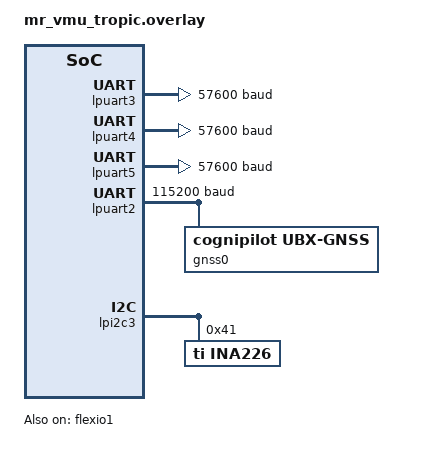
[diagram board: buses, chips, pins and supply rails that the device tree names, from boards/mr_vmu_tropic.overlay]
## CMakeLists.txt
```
cmake_minimum_required(VERSION 3.20.0)

# clangd, Neovim, and VS Code consume Zephyr's exact generated include paths
# and compile definitions from this database.
set(CMAKE_EXPORT_COMPILE_COMMANDS ON)

list(APPEND DTS_ROOT ${CMAKE_CURRENT_SOURCE_DIR})

set(RDD2_WORKSPACE_ROOT "" CACHE PATH "West workspace root containing Zephyr and module checkouts")
if(NOT RDD2_WORKSPACE_ROOT AND DEFINED ENV{RDD2_WORKSPACE_ROOT})
  set(RDD2_WORKSPACE_ROOT "$ENV{RDD2_WORKSPACE_ROOT}")
endif()

if(RDD2_WORKSPACE_ROOT)
  get_filename_component(WORKSPACE_ROOT ${RDD2_WORKSPACE_ROOT} ABSOLUTE)
else()
  get_filename_component(WORKSPACE_ROOT ${CMAKE_CURRENT_SOURCE_DIR} DIRECTORY)
endif()

function(rdd2_cache_path variable fallback description)
  if(DEFINED ENV{${variable}})
    set(${variable} "$ENV{${variable}}" CACHE PATH "${description}" FORCE)
  else()
    set(${variable} "${fallback}" CACHE PATH "${description}")
  endif()
endfunction()

rdd2_cache_path(RDD2_CEREBRI_MODULES_ROOT
  "${WORKSPACE_ROOT}/modules/lib/cerebri_lockstep"
  "Cerebri Zephyr module source"
)
rdd2_cache_path(RDD2_ZROS_ROOT
  "${WORKSPACE_ROOT}/modules/lib/zros"
  "ZROS Zephyr module source"
)
# scripts/synapse_fbs_package writes the package here when it is run from the
# workspace root with its default output directory.
set(_synapse_fbs_default "${WORKSPACE_ROOT}/synapse_fbs-build/synapse_fbs-c")
if(NOT IS_DIRECTORY "${_synapse_fbs_default}")
  set(_synapse_fbs_default "")
endif()
rdd2_cache_path(RDD2_SYNAPSE_FBS_ROOT
  "${_synapse_fbs_default}"
  "Generated Synapse C package source"
)
rdd2_cache_path(RDD2_MODELICA_MODELS_ROOT
  "${WORKSPACE_ROOT}/models/modelica_models"
  "Shared CogniPilot Modelica model library"
)
rdd2_cache_path(RDD2_PREBUILT_EFMI_DIR
  ""
  "Optional root containing prebuilt eFMI control model directories"
)
if(DEFINED ENV{RDD2_PREBUILT_EFMI_MANIFEST_SHA256})
  set(RDD2_PREBUILT_EFMI_MANIFEST_SHA256
    "$ENV{RDD2_PREBUILT_EFMI_MANIFEST_SHA256}" CACHE STRING
    "Expected SHA-256 of the prebuilt eFMI manifest" FORCE
  )
else()
  set(RDD2_PREBUILT_EFMI_MANIFEST_SHA256 "" CACHE STRING
    "Expected SHA-256 of the prebuilt eFMI manifest"
  )
endif()

if(RDD2_PREBUILT_EFMI_DIR)
  get_filename_component(RDD2_PREBUILT_EFMI_DIR
    "${RDD2_PREBUILT_EFMI_DIR}" REALPATH
  )
  if(NOT IS_DIRECTORY "${RDD2_PREBUILT_EFMI_DIR}")
    message(FATAL_ERROR
      "RDD2_PREBUILT_EFMI_DIR is not a directory: ${RDD2_PREBUILT_EFMI_DIR}"
    )
  endif()
endif()

set(ZEPHYR_EXTRA_MODULES
  ${RDD2_CEREBRI_MODULES_ROOT}
  ${RDD2_ZROS_ROOT}
)

if(NOT RDD2_SYNAPSE_FBS_ROOT)
  message(FATAL_ERROR
    "RDD2_SYNAPSE_FBS_ROOT must identify the generated Synapse C package. "
    "Run scripts/synapse_fbs_package from the workspace root so that "
    "${WORKSPACE_ROOT}/synapse_fbs-build/synapse_fbs-c resolves as the default, "
    "or export the RDD2_SYNAPSE_FBS_ROOT value the script prints."
  )
endif()
list(APPEND ZEPHYR_EXTRA_MODULES ${RDD2_SYNAPSE_FBS_ROOT})

# Zephyr main resolves snippets only from SNIPPET_ROOT and no longer implies
# the application directory, so this repo's own snippets/ has to be named for
# `-S mocap-gnss` to resolve.
list(APPEND SNIPPET_ROOT ${CMAKE_CURRENT_SOURCE_DIR})

find_package(Zephyr REQUIRED HINTS $ENV{ZEPHYR_BASE})
project(rdd2 LANGUAGES C)

if(TARGET native_simulator)
  target_sources(native_simulator INTERFACE subsys/lockstep/lockstep_host.c)
endif()

if(TARGET ..__modules__lib__zenoh-pico__zephyr)
  target_compile_options(..__modules__lib__zenoh-pico__zephyr PRIVATE
    -Wno-unused-function
    -Wno-unused-variable
  )
endif()

target_include_directories(app PRIVATE
  include
  ${CMAKE_CURRENT_BINARY_DIR}/generated
  ${ZEPHYR_BASE}/../modules/hal/nxp/mcux/mcux-sdk-ng/drivers/flexio
)

target_link_libraries(app PRIVATE
  synapse_fbs::c
  synapse_fbs::print
)

add_subdirectory(src)
add_subdirectory(subsys)
add_subdirectory(drivers)
```

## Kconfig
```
# Session files reach the rotation size, 4095 MiB by default and far past the
# mcumgr FS group's 64KB default cap.
# When the SD flight logger is built, force the transfer-size choice to its 4GB
# member so a full session is downloadable, which also widens
# MCUMGR_GRP_FS_MAX_OFFSET_LEN. This override precedes Kconfig.zephyr so its
# choice default is evaluated before the upstream 64KB default and therefore
# wins. It stays inert for the passive image, where the FS group is absent.
choice MCUMGR_GRP_FS_MAX_FILE_SIZE
	default MCUMGR_GRP_FS_MAX_FILE_SIZE_4GB if RDD2_FLIGHT_LOG
endchoice

source "Kconfig.zephyr"

config TOP_SHELL
    bool "Enable top-like screen in shell"
    depends on SHELL
    default y

config PWM_FREQUENCY
    int "PWM motors frequency in Hz"
    depends on PWM
    default 400
    
menu "RDD2"

config RDD2_COMMS_STUB
	bool "Build the passive communications endpoint"
	default n
	help
	  Build only ZROS storage, network receivers, timing, diagnostics, and
	  shell access. Flight-control containers, local sensor polling, RC input,
	  motor output, and periodic stub publications are not compiled. The main
	  thread sleeps forever while the event-driven communications endpoints
	  receive data.

choice RDD2_CONTROL_BACKEND
	prompt "Flight control backend"
	depends on !RDD2_COMMS_STUB
	default RDD2_CONTROL_EFMI
	help
	  Select the compute cores behind the estimator, guidance, allocator, and
	  planner processes. The ZROS topic surface, arming state machine, safety
	  gates, and driver bindings are identical for both selections.

config RDD2_CONTROL_EFMI
	bool "Generated eFMI control models"
	help
	  Use the eFMI control models generated from the shared Modelica library.
	  This is the default flight configuration and requires the
	  modelica_models west project to be checked out.

config RDD2_CONTROL_SIMPLE
	bool "Hand-written stand-in control backend"
	depends on !RDD2_LOCKSTEP
	help
	  Use hand-written stand-in compute cores in place of the generated eFMI
	  models. The estimator runs a complementary attitude filter with GNSS and
	  optical-flow passthrough, guidance runs an attitude-P loop, and the
	  allocator runs a rate-P loop with fixed X-quad mixing. Gains are
	  deliberately conservative bench placeholders. This lets the complete
	  flight image link without the generated models for bench verification of
	  sign conventions and data flow. Hardware builds only: this backend omits
	  the lockstep health-time remap the generated estimator performs, so it is
	  unavailable when RDD2_LOCKSTEP is set.

endchoice

config RDD2_MAGNETOMETER
	bool "Feed the onboard magnetometer to the navigation estimator"
	depends on !RDD2_COMMS_STUB && !RDD2_LOCKSTEP && SENSOR
	default y if BMM350 || IST8310
	help
	  Sample the onboard magnetometer at a fixed rate, publish it as the
	  magnetic_field topic in body FLU tesla, log it, and offer it to the
	  navigation estimator, which takes its initial heading from it and fuses
	  it as a yaw observation. Without it the estimator has no heading source
	  indoors and its yaw is arbitrary. The lockstep image has no I2C device
	  behind the driver, so it stays off there.

if RDD2_MAGNETOMETER

choice RDD2_MAGNETOMETER_DEVICE
	prompt "Magnetometer device"
	default RDD2_MAGNETOMETER_BMM350 if BMM350
	default RDD2_MAGNETOMETER_IST8310

config RDD2_MAGNETOMETER_BMM350
	bool "BMM350 (LPI2C4)"
	depends on BMM350

config RDD2_MAGNETOMETER_IST8310
	bool "IST8310 (LPI2C1)"
	depends on IST8310

endchoice

config RDD2_MAGNETOMETER_RATE_HZ
	int "Sample rate in Hz"
	default 50
	range 5 200

config RDD2_MAGNETOMETER_STDDEV_NT
	int "Per-axis measurement noise standard deviation in nT"
	default 300
	help
	  Reported to the estimator as an isotropic measurement covariance. Set
	  it from the field scatter measured on the resting aircraft with motors
	  off; the estimator's innovation gate handles the rest.

choice RDD2_MAGNETOMETER_MOUNT_YAW
	prompt "Rotation from the sensor axes to the body FLU frame about z"
	default RDD2_MAGNETOMETER_MOUNT_YAW_90
	help
	  The 90 degree default is the mapping the IMU interface applies to the
	  ICM45686 on this board (body x is sensor y, body y is -sensor x).
	  Verify it on the bench with the aircraft pointed at a known heading
	  before trusting the magnetic heading.

config RDD2_MAGNETOMETER_MOUNT_YAW_0
	bool "0 degrees"

config RDD2_MAGNETOMETER_MOUNT_YAW_90
	bool "90 degrees"

config RDD2_MAGNETOMETER_MOUNT_YAW_180
	bool "180 degrees"

config RDD2_MAGNETOMETER_MOUNT_YAW_270
	bool "270 degrees"

endchoice

config RDD2_MAGNETOMETER_Z_INVERTED
	bool "Sensor z axis points down"
	default n

endif # RDD2_MAGNETOMETER

rsource "subsys/Kconfig"
rsource "drivers/Kconfig"

endmenu
```

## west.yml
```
# SPDX-License-Identifier: Apache-2.0

manifest:
  self:
    path: cerebri_rdd2

  remotes:
    - name: zephyrproject-rtos
      url-base: https://github.com/zephyrproject-rtos
    - name: cognipilot
      url-base: https://github.com/CogniPilot

  projects:
    - name: zephyr
      remote: cognipilot
      revision: e665e099a421a94431052312ab3b53904886a761 # crsf-rx-idle-flush: crsf hardening plus RX flush from the idle line
      path: zephyr
      west-commands: scripts/west-commands.yml
    - name: cmsis
      remote: zephyrproject-rtos
      revision: 512cc7e895e8491696b61f7ba8066b4a182569b8
      path: modules/hal/cmsis
    - name: cmsis-dsp
      remote: zephyrproject-rtos
      revision: 97512610ec92058f0119450b9e743eeb7e95b5c8
      path: modules/lib/cmsis-dsp
    - name: cmsis_6
      remote: zephyrproject-rtos
      revision: b2dfbe1a20bbd49c2d2c605073799671074bbb30
      path: modules/hal/cmsis_6
    - name: fatfs
      remote: zephyrproject-rtos
      revision: f4ead3bf4a6dab3a07d7b5f5315795c073db568d
      path: modules/fs/fatfs
    - name: hal_nxp
      remote: zephyrproject-rtos
      revision: 53946adb08b54449391c1c0c73cdd094d92a3b6e
      path: modules/hal/nxp
    - name: hal_tdk
      remote: zephyrproject-rtos
      revision: 0f209bd0a4b6511c8c6ffddda75da1fe6988df8f
      path: modules/hal/tdk
    - name: segger
      remote: zephyrproject-rtos
      revision: 50892fdbcf2f570e67baa72b8894a66b16946f72
      path: modules/debug/segger
    - name: zcbor
      remote: zephyrproject-rtos
      revision: 9164bd18dcd88ff9d9ef98279501fc1093571017
      path: modules/lib/zcbor
    - name: zros
      remote: cognipilot
      revision: da99292affe1908ffc38d85ef20c0a89a4300dd1 # clock-only-when-rate-limited: subscriptions read the kernel clock only for rate limiting
      path: modules/lib/zros
    - name: cerebri_modules
      remote: cognipilot
      revision: ef73a4f8adeb4385c34af4344c9af27e43e02033
      path: modules/lib/cerebri_lockstep
    - name: modelica_models
      remote: cognipilot
      revision: 5b6b849ae35927f1713317f6809889d356ed263c # quiet-filter: low-pass quasi-static test, rumoca 0.10.0
      path: models/modelica_models
    - name: fastdyn
      url: https://github.com/jgoppert/FastDyn.git
      revision: cc40605fc29b62d701adee3895c659f9ce458a4b # io-log-opt-in: access log only for twintrace, probe, or FASTDYN_IO_LOG; no per-access timestamp when off
      path: modules/sim/fastdyn
    - name: zenoh-pico
      url: https://github.com/cognipilot/zenoh-pico.git
      revision: 2019ae3394b79955705f9a78c9f32d76b3b845ce
      path: modules/lib/zenoh-pico
    - name: zephyr_boards
      remote: cognipilot
      revision: 1d7c17e875938082f024e80d114ac82c25aa53a9
      path: modules/lib/zephyr_boards
    - name: mcuboot
      remote: zephyrproject-rtos
      revision: c38f7a10c14ae8b95c0296cd10320907c28e02c7 # matches the fleet zephyr import
      path: bootloader/mcuboot
```

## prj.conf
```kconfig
CONFIG_MAIN_STACK_SIZE=6144
CONFIG_MAIN_THREAD_PRIORITY=2
CONFIG_SYSTEM_WORKQUEUE_STACK_SIZE=2048
CONFIG_THREAD_NAME=y
CONFIG_THREAD_MONITOR=y
CONFIG_THREAD_STACK_INFO=y
CONFIG_INIT_STACKS=y
CONFIG_THREAD_RUNTIME_STATS=y

CONFIG_FPU=y
CONFIG_POLL=y
CONFIG_HEAP_MEM_POOL_SIZE=32768
CONFIG_ZROS=y
CONFIG_ZROS_SHELL=y

CONFIG_LOG=y
# Deferred logging: a LOG call only packs a record into the ring below and
# returns, so no flight thread or ISR ever blocks on the console. A log storm
# can no longer stall the rate loop, the network stack, or the SD writer.
CONFIG_LOG_MODE_DEFERRED=y
# ~4 KiB holds roughly 80-130 packed records, enough to absorb normal multi-line
# bursts (arming, mode changes, GNSS events) without dropping. When a true storm
# outruns the 115200 console the overflow policy below drops the oldest record
# rather than blocking the producer.
CONFIG_LOG_BUFFER_SIZE=4096
CONFIG_LOG_MODE_OVERFLOW=y
# The log processing thread and the shell thread that drains records to the UART
# must both sit below every flight thread (rate 2, navigation 3, capture 4,
# planning 5, guidance 6, wire/gnss/serial 7) and below the SD writer (10), so
# console work can never preempt control or storage. 14 is the lowest
# application priority (K_LOWEST_APPLICATION_THREAD_PRIO with the default
# CONFIG_NUM_PREEMPT_PRIORITIES=15). Without CUSTOM_PRIORITY the log thread would
# still default to that lowest priority, but the shell thread defaults to 0
# (above the rate loop) and is the thread that actually writes the UART in
# deferred mode, so it must be pinned down explicitly.
CONFIG_LOG_PROCESS_THREAD=y
CONFIG_LOG_PROCESS_THREAD_CUSTOM_PRIORITY=y
CONFIG_LOG_PROCESS_THREAD_PRIORITY=14
CONFIG_SHELL_THREAD_PRIORITY_OVERRIDE=y
CONFIG_SHELL_THREAD_PRIORITY=14
CONFIG_LOG_DEFAULT_LEVEL=2
CONFIG_LOG_CMDS=y
CONFIG_LOG_BACKEND_UART=n
CONFIG_LOG_PRINTK=n

CONFIG_CONSOLE=y
CONFIG_SERIAL=y
CONFIG_UART_ASYNC_API=y
CONFIG_UART_INTERRUPT_DRIVEN=y

CONFIG_SHELL=y
CONFIG_SHELL_BACKEND_SERIAL=y
CONFIG_SHELL_LOG_BACKEND=y
CONFIG_SHELL_PROMPT_UART="rdd2:~$ "
CONFIG_SHELL_STACK_SIZE=6144
CONFIG_DEVICE_SHELL=y
CONFIG_KERNEL_SHELL=y

# The flight logger never formats a card: it refuses to log on an unformatted
# volume rather than destroy its contents. Drop the format-on-mount-failure
# path entirely so the behavior cannot regress. Inactive unless the FAT
# filesystem is compiled in, so this is a no-op for the passive image.
CONFIG_FS_FATFS_MOUNT_MKFS=n
```

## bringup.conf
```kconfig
# Bench bring-up: use immediate logs and turn up the net/gPTP/PHY log levels
# so ENET, gPTP, and direct-wire bring-up is fully visible.
CONFIG_LOG_MODE_IMMEDIATE=y
CONFIG_RESET_ON_FATAL_ERROR=n
CONFIG_NET_L2_ETHERNET_LOG_LEVEL_DBG=y
CONFIG_PHY_LOG_LEVEL_DBG=y
CONFIG_NET_CONFIG_LOG_LEVEL_DBG=y
CONFIG_NET_CORE_LOG_LEVEL_DBG=y
CONFIG_NET_GPTP_LOG_LEVEL_DBG=y
```

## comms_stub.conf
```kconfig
# Non-flyable communications/timing bench image.
CONFIG_RDD2_COMMS_STUB=y
# The system GNSS fix arrives through the direct Synapse wire receiver.
CONFIG_RDD2_GNSS_SOURCE_WIRE=y
# The passive endpoint has no periodic serial bridge thread.
CONFIG_RDD2_ZROS_SERIAL=n
CONFIG_RDD2_DSHOT=n
CONFIG_RDD2_LOCKSTEP=n
CONFIG_RDD2_FASTDYN=n
# The passive timing endpoint carries no SD stack: the flight logger and the
# usdhc/FAT block layer it selects stay out of the image so it remains lean.
CONFIG_RDD2_FLIGHT_LOG=n
```

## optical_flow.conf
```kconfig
# SPDX-License-Identifier: Apache-2.0

# Opt-in flight profile: retain onboard GPS and fuse a gPTP-synchronized,
# range/tilt-compensated planar velocity from the shaped sensor node.
CONFIG_RDD2_OPTICAL_FLOW_SOURCE_CSYN=y
```

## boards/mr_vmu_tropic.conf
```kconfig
CONFIG_INPUT=y
CONFIG_INPUT_MODE_SYNCHRONOUS=y
CONFIG_INPUT_SHELL=y
CONFIG_INPUT_EVENT_DUMP=y
CONFIG_INPUT_CRSF=y
CONFIG_INPUT_CRSF_SEND_SYNC=y
CONFIG_INPUT_CRSF_REPORT_FILTER=1
CONFIG_INPUT_CRSF_THREAD_PRIORITY=1
CONFIG_INPUT_CRSF_THREAD_STACK_SIZE=2048
CONFIG_INPUT_CRSF_USE_DTCM_FOR_DMA_BUFFER=y
CONFIG_CODE_DATA_RELOCATION=y
CONFIG_POSIX_API=y
CONFIG_MAX_PTHREAD_MUTEX_COUNT=16
CONFIG_MAX_PTHREAD_COND_COUNT=8

CONFIG_DSP=y
CONFIG_DSP_BACKEND_CMSIS=y
CONFIG_CMSIS_DSP=y

CONFIG_SENSOR=y
CONFIG_SENSOR_ASYNC_API=y
CONFIG_SENSOR_SHELL=y
# `i2c scan` for locating the power monitor and other bus devices.
CONFIG_I2C_SHELL=y
# Battery voltage and current from the power module's INA226 into vehicle_health.
CONFIG_INA226=y
CONFIG_RDD2_POWER_SOURCE=y
# ICM45686 data-ready streaming for local inertial sensing. The early-boot
# fault (data-ready IRQ arriving before the RTIO stream is armed) and the
# uninitialised INT-config at driver init are both fixed in the fork driver.
CONFIG_ICM45686_STREAM=y
CONFIG_PINCTRL=y
CONFIG_CLOCK_CONTROL=y
CONFIG_DMA=y
CONFIG_MDIO=y
CONFIG_MDIO_SHELL=y
CONFIG_NETWORKING=y
# IPv6-native, no IPv4. Each node self-assigns a stable EUI-64 interface identifier
# from its UUID-seeded MAC (nxp,unique-mac): zero-config, unique, reboot-stable
# addressing with no DHCP, off the same UUID that pins the gPTP clockIdentity. No
# IPv4 stack is built. NET_CONFIG_NEED_IPV4 does `select NET_IPV4`, so it is off too.
CONFIG_NET_IPV4=n
CONFIG_NET_IPV6=y
CONFIG_NET_IPV6_IID_EUI_64=y
CONFIG_NET_UDP=y
CONFIG_NET_CONFIG_SETTINGS=y
CONFIG_NET_CONFIG_NEED_IPV4=n
CONFIG_NET_CONFIG_INIT_TIMEOUT=0
CONFIG_NET_SHELL=y
CONFIG_NET_STATISTICS=y
CONFIG_NET_STATISTICS_PER_INTERFACE=y
CONFIG_NET_STATISTICS_USER_API=y
CONFIG_NET_STATISTICS_ICMP=y
CONFIG_NET_STATISTICS_UDP=y
CONFIG_NET_STATISTICS_ETHERNET=y
CONFIG_SPI_NXP_LPSPI_DMA=n
CONFIG_GNSS=y

# The system GNSS fix is received directly from the network GNSS source.
# The direct-wire receiver is the sole publisher of gnss_fix on this node.
CONFIG_RDD2_GNSS_SOURCE_WIRE=y

# Optical flow arrives on the same direct Synapse wire. The node's derived
# velocity is biased and rotation-contaminated (flight0114 replay: fusing it
# raised position error 7x), so it is not fused. The estimator instead fuses
# the node's raw OpticalFlowData, forming the velocity itself.
CONFIG_RDD2_OPTICAL_FLOW_SOURCE_WIRE=n
CONFIG_RDD2_OPTICAL_FLOW_SOURCE_WIRE_RAW=y

# Record the flight bus to the microSD card. The logger's ring lives in DTCM.
CONFIG_RDD2_FLIGHT_LOG=y
# Card preparation and session events are operator-facing, so they go to the console.
CONFIG_RDD2_FLIGHT_LOG_LOG_LEVEL_INF=y

# Synapse topics over the SiK telemetry radio on the zros-serial alias.
CONFIG_RDD2_ZROS_SERIAL=y

# Network node on the T1ETH8: gPTP receiver plus direct sensor datagrams.
CONFIG_NET_TCP=y
CONFIG_NET_SOCKETS=y
CONFIG_NET_VLAN=y
CONFIG_NET_VLAN_COUNT=1
CONFIG_NET_IF_MAX_IPV6_COUNT=2
CONFIG_NET_CONTEXT_RECV_PKTINFO=y
CONFIG_NET_CONTEXT_RECV_HOPLIMIT=y
CONFIG_NET_HOSTNAME_ENABLE=y
CONFIG_NET_HOSTNAME="cerebri-vmu"

# gPTP (IEEE 802.1AS) static timeReceiver: the port is pinned to the receiver role
# and the classic-ENET PTP hardware clock is disciplined from received Sync/Follow_Up
# alone, so the VMU locks to the GNSS grandmaster through the Announce-less AVnu
# bridge. PTP_CLOCK is listed explicitly to keep the PHC in the build.
CONFIG_NET_GPTP=y
CONFIG_PTP_CLOCK=y
CONFIG_NET_GPTP_STATIC_TIME_RECEIVER=y
# Bound the phase step that is applied as an instantaneous clock jump rather
# than being slewed. The TROPIC is a pure time receiver and owns no timescale
# that any other node consumes, so a tight 2 ms threshold keeps its local clock
# close to the grandmaster without disturbing downstream consumers.
CONFIG_NET_GPTP_CLOCK_STEP_THRESHOLD_NS=2000000

CONFIG_RDD2_SYNAPSE_WIRE=y
CONFIG_RDD2_SYNAPSE_WIRE_LOCAL_ADDRESS="fe80::4:9fff:fe00:150"
CONFIG_RDD2_SYNAPSE_WIRE_VLAN_ID=58
# Sensor peers are addressed by role, not by silicon. Each node uses the
# locally administered MAC 02:04:9f:00:hh:ll whose final 12 bits read as the
# decimal node id followed by zero in hex, giving link-local
# fe80::4:9fff:fe00:{node}0. Node 12 (optical flow) and node 11 (GNSS) resolve
# to the constants below, so this firmware is identical across every hardware
# set instead of tracking per-board silicon-derived addresses.
CONFIG_RDD2_SYNAPSE_WIRE_OPTICAL_SOURCE_ADDRESS="fe80::4:9fff:fe00:120"
CONFIG_RDD2_SYNAPSE_WIRE_OPTICAL_SOURCE_NODE_ID=12
CONFIG_RDD2_SYNAPSE_WIRE_GNSS_SOURCE_ADDRESS="fe80::4:9fff:fe00:110"
CONFIG_RDD2_SYNAPSE_WIRE_GNSS_SOURCE_NODE_ID=11
# Reject synchronized sensor timestamps more than 10 ms in the future. The
# gPTP step threshold above and this skew bound are qualified together in a
# bench soak (lock, holdover, recovery) before any flight, and the deployment
# manifest value must track whatever is actually deployed.
CONFIG_RDD2_SYNAPSE_WIRE_FUTURE_SKEW_MS=10
CONFIG_RDD2_SYNAPSE_WIRE_LOG_LEVEL_INF=y
CONFIG_ZVFS_OPEN_MAX=16
CONFIG_HEAP_MEM_POOL_SIZE=49152

# MCUboot-managed image with mcumgr OTA over UDP (fleet parity): confirm/rollback
# safety plus reflash over the mesh via mcumgr-client, so the tropic no longer
# depends on the J-Link for updates once it is on the network.
CONFIG_BOOTLOADER_MCUBOOT=y
CONFIG_FLASH=y
CONFIG_FLASH_MAP=y
CONFIG_STREAM_FLASH=y
CONFIG_IMG_MANAGER=y
CONFIG_ZCBOR=y
CONFIG_BASE64=y
CONFIG_MCUMGR=y
CONFIG_MCUMGR_TRANSPORT_UDP=y
CONFIG_MCUMGR_TRANSPORT_UDP_IPV6=y
CONFIG_MCUMGR_GRP_OS=y
CONFIG_MCUMGR_GRP_OS_INFO=y
CONFIG_MCUMGR_GRP_IMG=y
CONFIG_MCUMGR_GRP_IMG_SLOT_INFO=y
# Shell over SMP so the node can be inspected over the network (wire and ZROS
# state, net) the same way as the MCXN nodes, without the serial console. The
# shell mgmt group executes through the dummy shell backend, which coexists with
# the interactive lpuart6 console backend.
CONFIG_BASE64=y
CONFIG_SHELL_BACKEND_DUMMY=y
CONFIG_MCUMGR_GRP_SHELL=y

# CRSF telemetry back to the ELRS receiver: plain GPS/battery/flight-mode frames
# plus the Yaapu passthrough frames the Yaapu script on the transmitter reads.
CONFIG_RDD2_CRSF_TELEMETRY=y

# The vector table is copied to ITCM at boot instead of being fetched from
# QSPI flash on every interrupt, so exception entry reads it in a single cycle.
CONFIG_SRAM_VECTOR_TABLE=y
CONFIG_ARM_VECTOR_TABLE_ITCM=y

# Ethernet DMA buffers and descriptors in DTCM: no cache maintenance in
# the Ethernet interrupt handler, which holds the interrupt lock for its
# whole body. The Kconfig default is off on Cortex-M7 for an RT117x
# erratum that this SoC does not carry.
CONFIG_ETH_NXP_ENET_USE_DTCM_FOR_DMA_BUFFER=y
```

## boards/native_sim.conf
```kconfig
CONFIG_NATIVE_SIM_SLOWDOWN_TO_REAL_TIME=y
CONFIG_REQUIRES_FULL_LIBC=y
CONFIG_ENTROPY_GENERATOR=y

CONFIG_INPUT=y
CONFIG_INPUT_MODE_SYNCHRONOUS=y
CONFIG_SENSOR=y

CONFIG_RDD2_LOG_SDCARD=y
CONFIG_DISK_DRIVERS=y
CONFIG_DISK_DRIVER_FLASH=y
CONFIG_FS_FATFS_MOUNT_MKFS=y
CONFIG_FILE_SYSTEM_SHELL=y

CONFIG_UART_NATIVE_PTY=y
CONFIG_UART_NATIVE_PTY_0_ON_OWN_PTY=y
CONFIG_UART_NATIVE_PTY_AUTOATTACH_DEFAULT_CMD="xterm -fa Monospace -fs 14 -e screen %s &"
```

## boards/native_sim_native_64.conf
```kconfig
CONFIG_NATIVE_SIM_SLOWDOWN_TO_REAL_TIME=y
CONFIG_REQUIRES_FULL_LIBC=y
CONFIG_ENTROPY_GENERATOR=y

CONFIG_INPUT=y
CONFIG_INPUT_MODE_SYNCHRONOUS=y
CONFIG_SENSOR=y

CONFIG_UART_NATIVE_PTY=y
CONFIG_UART_NATIVE_PTY_0_ON_OWN_PTY=y
CONFIG_UART_NATIVE_PTY_AUTOATTACH_DEFAULT_CMD="xterm -fa Monospace -fs 14 -e screen %s &"
```

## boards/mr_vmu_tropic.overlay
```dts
/* SPDX-License-Identifier: Apache-2.0 */

#include <zephyr/dt-bindings/sensor/icm45686.h>
#include <zephyr/dt-bindings/sensor/ina226.h>

/ {
	aliases {
		rc = &sbus0;
		imu0 = &icm45686;
		power0 = &ina226;
		motors = &dshot;
		gnss = &gnss0;
		zros-serial = &lpuart4;

		/*
		 * Candidates for `zros_serial scan`, which listens on all of
		 * them at once to find which header the radio is on. Only
		 * UARTs no driver owns may be listed: the scan reconfigures
		 * the baud and polls for bytes, which would fight any driver
		 * holding the port. lpuart6 is the console, lpuart8 is CRSF,
		 * and lpuart2 belongs to the GNSS receiver in the default
		 * build, so the mocap-gnss snippet adds lpuart2 instead.
		 */
		zros-scan0 = &lpuart3;
		zros-scan1 = &lpuart4;
		zros-scan2 = &lpuart5;
	};
};

/*
 * SiK telemetry radio carrying the compact synapse serial framing. All three
 * candidate TELEM ports carry the radio's rate, not just the one the
 * zros-serial alias currently names: `zros_serial scan` configures the baud
 * itself and restores it afterwards, so a port that scans clean at 57600
 * would otherwise still come up at the devicetree default and see nothing.
 * 57600 is the SiK factory default; change all three together if the radios
 * are reconfigured.
 */
&lpuart3 {
	status = "okay";
	current-speed = <57600>;
};

&lpuart4 {
	status = "okay";
	current-speed = <57600>;
};

&lpuart5 {
	status = "okay";
	current-speed = <57600>;
};

/*
 * Onboard M10 on the 10-pin JST-GH GPS connector. Enabling this node is what
 * pulls in the Zephyr GNSS driver and makes RDD2_GNSS_SOURCE_ONBOARD the
 * default, so the gnss topic is produced here and streamed out as telemetry.
 *
 * current-speed is 115200, confirmed against the hardware: a port dump at that
 * rate returns b5 62 01 07, a u-blox UBX NAV-PVT header. Note that the module
 * therefore speaks UBX, not NMEA, so gnss-nmea-generic cannot decode it - see
 * the GNSS section of README.md. The mocap-gnss snippet disables this node,
 * which both frees the UART and switches the topic to accepting an injected
 * fix.
 */
&lpuart2 {
	status = "okay";
	current-speed = <115200>;

	gnss0: gnss {
		status = "okay";
		compatible = "cognipilot,ubx-gnss";
	};
};

/*
 * Battery monitor on the CogniPilot power module, on the I2C bus behind the
 * POWER connector. The shunt value and the current LSB below are the ones the
 * module ships with; both scale the reported current directly, so check the
 * current channel against a meter under load before trusting the telemetry.
 */
&lpi2c3 {
	ina226: ina226@41 {
		compatible = "ti,ina226";
		reg = <0x41>;
		current-lsb-microamps = <5000>;
		rshunt-micro-ohms = <500>;
	};
};

&icm45686 {
	spi-max-frequency = <10000000>;
	/*
	 * Pace the rate loop directly from the IMU data-ready interrupt at
	 * 800 Hz. The low-pass bandwidth is a fraction of the ODR, so the
	 * 1/16 accel (50 Hz) and 1/8 gyro (100 Hz) cutoffs track the new rate
	 * automatically and stay conservative enough to cut motor vibration
	 * without adding extra control-path threading.
	 */
	accel-odr = <ICM45686_DT_ACCEL_ODR_800>;
	accel-lpf = <ICM45686_DT_ACCEL_LPF_BW_1_16>;
	gyro-odr = <ICM45686_DT_GYRO_ODR_800>;
	gyro-lpf = <ICM45686_DT_GYRO_LPF_BW_1_8>;
	fifo-watermark = <0>;
};

&pinctrl {
	pinmux_dshot_vmu: pinmux_dshot_vmu {
		group0 {
			pinmux = <&iomuxc_gpio_emc_06_flexio1_flexio06>,
				 <&iomuxc_gpio_emc_07_flexio1_flexio07>,
				 <&iomuxc_gpio_emc_08_flexio1_flexio08>,
				 <&iomuxc_gpio_emc_09_flexio1_flexio09>,
				 <&iomuxc_gpio_emc_02_flexio1_flexio02>,
				 <&iomuxc_gpio_emc_03_flexio1_flexio03>,
				 <&iomuxc_gpio_emc_04_flexio1_flexio04>,
				 <&iomuxc_gpio_emc_05_flexio1_flexio05>;
			drive-strength = "r0-4";
			bias-pull-up;
			bias-pull-up-value = "47k";
			slew-rate = "fast";
			input-enable;
			nxp,speed = "100-mhz";
		};
	};
};

&flexio1 {
	status = "okay";

	dshot: dshot {
		compatible = "cognipilot,flexio-dshot";
		pinctrl-0 = <&pinmux_dshot_vmu>;
		pinctrl-names = "default";
		status = "okay";
		speed = <600>;

		ch1 {
			pin-id = <6>;
			bidirectional-dshot;
			extended-telemetry;
		};

		ch2 {
			pin-id = <7>;
			bidirectional-dshot;
			extended-telemetry;
		};

		ch3 {
			pin-id = <9>;
			bidirectional-dshot;
			extended-telemetry;
		};

		ch4 {
			pin-id = <8>;
			bidirectional-dshot;
			extended-telemetry;
		};
	};
};

&bmi08x_accel {
	status = "disabled";
};

&bmi08x_gyro {
	status = "disabled";
};

/*
 * FlexRAM split: all sixteen 32 KB banks go to the tightly coupled memories,
 * 256 KB ITCM for the hot-path code including the whole interrupt path, and
 * 256 KB DTCM for the hot-path data. OCRAM2 (512 KB) is the general RAM and
 * holds the generated navigation estimator state and the flight log ring.
 * Each image applies its own split from its reset hook, so MCUboot keeping
 * the board default does not conflict.
 */
#include <zephyr/dt-bindings/memory-controller/nxp,flexram.h>

&flexram {
	flexram,bank-spec = <FLEXRAM_DTCM>,
			    <FLEXRAM_DTCM>,
			    <FLEXRAM_DTCM>,
			    <FLEXRAM_DTCM>,
			    <FLEXRAM_DTCM>,
			    <FLEXRAM_DTCM>,
			    <FLEXRAM_DTCM>,
			    <FLEXRAM_DTCM>,
			    <FLEXRAM_ITCM>,
			    <FLEXRAM_ITCM>,
			    <FLEXRAM_ITCM>,
			    <FLEXRAM_ITCM>,
			    <FLEXRAM_ITCM>,
			    <FLEXRAM_ITCM>,
			    <FLEXRAM_ITCM>,
			    <FLEXRAM_ITCM>;
};

&itcm {
	reg = <0x00000000 DT_SIZE_K(256)>;
};

&dtcm {
	reg = <0x20000000 DT_SIZE_K(256)>;
};
```

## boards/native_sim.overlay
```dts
/* SPDX-License-Identifier: Apache-2.0 */

/delete-node/ &storage_partition;

&flash0 {
	partitions {
		compatible = "fixed-partitions";
		#address-cells = <1>;
		#size-cells = <1>;

		storage_partition: partition@f0000 {
			label = "storage";
			reg = <0x000f0000 DT_SIZE_K(64)>;
		};
	};
};

/ {
	aliases {
		rc = &lockstep_rc0;
		imu0 = &lockstep_imu0;
		motors = &lockstep_dshot0;
	};

	rdd2_log_disk0 {
		compatible = "zephyr,flash-disk";
		partition = <&storage_partition>;
		disk-name = "SD";
		cache-size = <4096>;
		status = "okay";
	};

	lockstep_rc0: lockstep_rc {
		compatible = "cognipilot,lockstep-rc";
		status = "okay";
	};

	lockstep_imu0: lockstep_imu {
		compatible = "cognipilot,lockstep-imu";
		status = "okay";
	};

	lockstep_dshot0: lockstep_dshot {
		compatible = "cognipilot,lockstep-dshot";
		status = "okay";
		channel-count = <4>;
	};
};
```

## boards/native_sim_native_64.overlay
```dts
/* SPDX-License-Identifier: Apache-2.0 */

#include "native_sim.overlay"
```

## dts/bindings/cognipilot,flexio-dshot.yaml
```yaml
# Copyright 2024 NXP
# SPDX-License-Identifier: Apache-2.0

description: NXP Flexio DSHOT controller.
  Each flexio timer can be used for generating one dshot pulse.
  The two DSHOT modes supported by flexio are chosen based on the selected polarity -
  Dual 8-bit counters DSHOT mode and Dual 8-bit counters DSHOT Low mode.

compatible: "cognipilot,flexio-dshot"

include: [pinctrl-device.yaml, base.yaml]

properties:
  pinctrl-0:
    required: true

  pinctrl-names:
    required: true

  speed:
    type: int
    default: 600
    description: |
      bitrate of the dshot signal in kbit/s

child-binding:
  description: |
    Flexio DSHOT channel configuration.

  properties:
    pin-id:
      type: int
      required: true
      description: |
        pin-id should be populated with number 'n' specified in the
        FXIO_D<n> data pin of your board's schematic.
    bidirectional-dshot:
      type: boolean
      description: | 
        Enables inverted dshot, where signal level is inverted
        When inverted an DSHOT esc will send back telemetry over 
        the same single wire
    extended-telemetry:
      type: boolean
      description: |
        Enable Extended DShot Telemetry (EDT) on this channel. Requires
        bidirectional-dshot on the same channel (ignored otherwise). When set,
        once the channel comes online the driver sends the DShot
        extended-telemetry-enable command to the ESC, then decodes the
        temperature/voltage/current EDT frames interleaved with the eRPM
        responses. Exposed through SENSOR_CHAN_DIE_TEMP, SENSOR_CHAN_VOLTAGE and
        SENSOR_CHAN_CURRENT.
```

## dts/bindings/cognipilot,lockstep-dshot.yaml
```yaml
# SPDX-License-Identifier: Apache-2.0

description: RDD2 native_sim DSHOT output device

compatible: "cognipilot,lockstep-dshot"

include: sensor-device.yaml

properties:
  channel-count:
    type: int
    required: true
    description: Number of simulated motor output channels.
```

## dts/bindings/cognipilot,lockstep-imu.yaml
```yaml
# SPDX-License-Identifier: Apache-2.0

description: RDD2 native_sim IMU sensor device

compatible: "cognipilot,lockstep-imu"

include: sensor-device.yaml
```

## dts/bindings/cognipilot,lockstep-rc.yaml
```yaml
# SPDX-License-Identifier: Apache-2.0

description: RDD2 native_sim RC input device

compatible: "cognipilot,lockstep-rc"

include: base.yaml
```

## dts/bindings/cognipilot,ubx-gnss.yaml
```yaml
# Copyright (c) 2026 CogniPilot Foundation
# SPDX-License-Identifier: Apache-2.0

description: |
  u-blox receiver read as UBX binary rather than NMEA.

  At boot the driver sends one RAM-layer UBX-CFG-VALSET transaction on receiver
  UART1 at 115200 baud. It enables UBX input/output, disables NMEA input/output,
  selects airborne-2g dynamics, sets a 100 ms navigation measurement period,
  and enables UBX-NAV-PVT on UART1. Configuration is ACK-gated and fails closed
  after three attempts rejected by NAKs or bounded ACK timeouts.

  NAV-PVT carries everything the synapse GnssFix contract wants, including the
  accuracy estimates NMEA cannot express. The driver publishes a usable fix
  only after configuration and stable, recent 10 Hz samples pass fix and
  accuracy gates; otherwise it publishes NoFix with unusable sentinels.

  Declare it as a child of the UART the receiver is wired to, and set that
  UART's current-speed to 115200.

compatible: "cognipilot,ubx-gnss"

include: uart-device.yaml
```

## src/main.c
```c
/* SPDX-License-Identifier: Apache-2.0 */

#include "interfaces/zros_topics.h"
#include "processes/processes.h"

#include <zephyr/logging/log.h>

LOG_MODULE_REGISTER(rdd2, LOG_LEVEL_INF);

int main(void)
{
	rdd2_topic_shell_formatters_init();

#if defined(CONFIG_RDD2_COMMS_STUB)
	LOG_INF("PASSIVE COMMS ENDPOINT: FLIGHT CONTROL AND OUTPUTS ARE NOT BUILT");
	return rdd2_comms_stub_process_run();
#else
	int rc;

	/* Start consumers before the IMU-paced rate process begins publishing. */
	rc = rdd2_navigation_estimator_process_start();
	if (rc != 0) {
		LOG_ERR("NavigationEstimator process failed to start: %d", rc);
		return rc;
	}

	rc = rdd2_waypoint_trajectory_planner_process_start();
	if (rc != 0) {
		LOG_ERR("WaypointTrajectoryPlanner process failed to start: %d", rc);
		return rc;
	}

	rc = rdd2_guidance_controller_process_start();
	if (rc != 0) {
		LOG_ERR("GuidanceController process failed to start: %d", rc);
		return rc;
	}
	LOG_INF("RDD2 eFMU deployment starting");
	return rdd2_rate_control_allocator_process_run();
#endif
}
```

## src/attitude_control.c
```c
/*
 * SPDX-License-Identifier: Apache-2.0
 */

#include "attitude_control.h"

#include "rate_control.h"
#include "rdd2_efmi_control.h"

#define AUTO_LEVEL_ROLL_P_GAIN  4.0f
#define AUTO_LEVEL_PITCH_P_GAIN 4.0f

static void controller_from_rc(Vehicles_Rdd2_ControllerState *state,
			       const rdd2_rc_channels_t *rc)
{
	rdd2_efmi_controller_init_from_rc(state, rc, RDD2_ROLL_CHANNEL_INDEX,
					  RDD2_PITCH_CHANNEL_INDEX,
					  RDD2_THROTTLE_CHANNEL_INDEX,
					  RDD2_YAW_CHANNEL_INDEX, RDD2_ARM_CHANNEL_INDEX);
}

void rdd2_attitude_controller_init(struct rdd2_attitude_controller *controller)
{
	rdd2_efmi_pid_axis_init(&controller->roll);
	rdd2_efmi_pid_axis_init(&controller->pitch);

	controller->roll.kp = AUTO_LEVEL_ROLL_P_GAIN;
	controller->roll.ki = 0.0f;
	controller->roll.kd = 0.0f;
	controller->roll.i_limit = 0.0f;
	controller->roll.output_limit = RDD2_MAX_ROLL_PITCH_RATE_RAD_S;
	rdd2_efmi_pid_axis_recalibrate(&controller->roll);

	controller->pitch.kp = AUTO_LEVEL_PITCH_P_GAIN;
	controller->pitch.ki = 0.0f;
	controller->pitch.kd = 0.0f;
	controller->pitch.i_limit = 0.0f;
	controller->pitch.output_limit = RDD2_MAX_ROLL_PITCH_RATE_RAD_S;
	rdd2_efmi_pid_axis_recalibrate(&controller->pitch);

	rdd2_attitude_controller_reset(controller);
}

void rdd2_attitude_controller_reset(struct rdd2_attitude_controller *controller)
{
	rdd2_efmi_pid_axis_reset(&controller->roll);
	rdd2_efmi_pid_axis_reset(&controller->pitch);
}

void rdd2_attitude_desired_from_rc(const rdd2_rc_channels_t *rc,
				   const rdd2_attitude_euler_t *attitude,
				   rdd2_attitude_euler_t *attitude_desired)
{
	Vehicles_Rdd2_ControllerState state;

	if (rc == NULL || attitude == NULL || attitude_desired == NULL) {
		return;
	}

	controller_from_rc(&state, rc);
	state.attitudeRoll = (double)attitude->roll;
	state.attitudePitch = (double)attitude->pitch;
	state.attitudeYaw = (double)attitude->yaw;
	rdd2_efmi_controller_step(&state);
	attitude_desired->roll = (float)state.attitudeDesiredRoll;
	attitude_desired->pitch = (float)state.attitudeDesiredPitch;
	attitude_desired->yaw = (float)state.attitudeDesiredYaw;
}

void rdd2_attitude_controller_step(struct rdd2_attitude_controller *controller,
				   const rdd2_attitude_euler_t *attitude,
				   const rdd2_attitude_euler_t *attitude_desired,
				   const rdd2_rc_channels_t *rc, float dt,
				   rdd2_rate_triplet_t *rate_desired)
{
	Vehicles_Rdd2_ControllerState state;

	if (controller == NULL || attitude == NULL || attitude_desired == NULL || rc == NULL ||
	    rate_desired == NULL || dt <= 0.0f) {
		return;
	}

	rate_desired->roll =
		rdd2_efmi_pid_axis_step(&controller->roll, attitude_desired->roll,
					 attitude->roll, dt, false);

	rate_desired->pitch =
		rdd2_efmi_pid_axis_step(&controller->pitch, attitude_desired->pitch,
					 attitude->pitch, dt, false);

	controller_from_rc(&state, rc);
	rdd2_efmi_controller_step(&state);
	rate_desired->yaw = (float)state.yawRateDesired;
}
```

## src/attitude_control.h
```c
#ifndef RDD2_ATTITUDE_CONTROL_H_
#define RDD2_ATTITUDE_CONTROL_H_

#include "Vehicles_Rdd2_Controller.h"
#include "synapse_messages.h"

struct rdd2_attitude_controller {
	Vehicles_Rdd2_ControllerState roll;
	Vehicles_Rdd2_ControllerState pitch;
};

void rdd2_attitude_controller_init(struct rdd2_attitude_controller *controller);
void rdd2_attitude_controller_reset(struct rdd2_attitude_controller *controller);
void rdd2_attitude_desired_from_rc(const rdd2_rc_channels_t *rc,
				   const rdd2_attitude_euler_t *attitude,
				   rdd2_attitude_euler_t *attitude_desired);
void rdd2_attitude_controller_step(struct rdd2_attitude_controller *controller,
				   const rdd2_attitude_euler_t *attitude,
				   const rdd2_attitude_euler_t *attitude_desired,
				   const rdd2_rc_channels_t *rc, float dt,
				   rdd2_rate_triplet_t *rate_desired);

#endif
```

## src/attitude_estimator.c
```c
/*
 * SPDX-License-Identifier: Apache-2.0
 */

#include "attitude_estimator.h"

static void set_inputs(Estimation_ComplementaryAttitudeState *model,
                       const rdd2_vec3f_t *gyro, const rdd2_vec3f_t *accel) {
  model->gyro_rad_s[0] = (double)gyro->x;
  model->gyro_rad_s[1] = (double)gyro->y;
  model->gyro_rad_s[2] = (double)gyro->z;
  model->accel_m_s2[0] = (double)accel->x;
  model->accel_m_s2[1] = (double)accel->y;
  model->accel_m_s2[2] = (double)accel->z;
}

void rdd2_attitude_estimator_init(struct rdd2_attitude_estimator *estimator) {
  if (estimator == NULL) {
    return;
  }

  Estimation_ComplementaryAttitude_startup(&estimator->model);
  Estimation_ComplementaryAttitude_recalibrate(&estimator->model);
}

void rdd2_attitude_estimator_reset_from_accel(
    struct rdd2_attitude_estimator *estimator, const rdd2_vec3f_t *accel) {
  static const rdd2_vec3f_t zero_gyro;

  if (estimator == NULL || accel == NULL) {
    return;
  }

  set_inputs(&estimator->model, &zero_gyro, accel);
  estimator->model.reset = true;
  Estimation_ComplementaryAttitude_dostep(&estimator->model);
}

void rdd2_attitude_estimator_predict(struct rdd2_attitude_estimator *estimator,
                                     const rdd2_vec3f_t *gyro,
                                     const rdd2_vec3f_t *accel, float dt) {
  if (estimator == NULL || gyro == NULL || accel == NULL || dt <= 0.0f) {
    return;
  }

  set_inputs(&estimator->model, gyro, accel);
  estimator->model.samplePeriod = (double)dt;
  estimator->model.reset = false;
  Estimation_ComplementaryAttitude_dostep(&estimator->model);
}

void rdd2_attitude_estimator_get_attitude(
    const struct rdd2_attitude_estimator *estimator,
    rdd2_attitude_euler_t *attitude) {
  if (estimator == NULL || attitude == NULL) {
    return;
  }

  attitude->roll = (float)estimator->model.euler_rad[0];
  attitude->pitch = (float)estimator->model.euler_rad[1];
  attitude->yaw = (float)estimator->model.euler_rad[2];
}
```

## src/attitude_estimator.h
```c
#ifndef RDD2_ATTITUDE_ESTIMATOR_H_
#define RDD2_ATTITUDE_ESTIMATOR_H_

#include "Estimation_ComplementaryAttitude.h"
#include "synapse_messages.h"

struct rdd2_attitude_estimator {
  Estimation_ComplementaryAttitudeState model;
};

void rdd2_attitude_estimator_init(struct rdd2_attitude_estimator *estimator);
void rdd2_attitude_estimator_reset_from_accel(
    struct rdd2_attitude_estimator *estimator, const rdd2_vec3f_t *accel);
void rdd2_attitude_estimator_predict(struct rdd2_attitude_estimator *estimator,
                                     const rdd2_vec3f_t *gyro,
                                     const rdd2_vec3f_t *accel, float dt);
void rdd2_attitude_estimator_get_attitude(
    const struct rdd2_attitude_estimator *estimator,
    rdd2_attitude_euler_t *attitude);

#endif
```

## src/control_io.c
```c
/*
 * SPDX-License-Identifier: Apache-2.0
 */

#include "control_io.h"

#include "imu_stream.h"
#include "rc_input.h"

#include <errno.h>

#include <zephyr/device.h>
#include <zephyr/drivers/misc/nxp_flexio_dshot/nxp_flexio_dshot.h>
#include <zephyr/kernel.h>
#include <zephyr/logging/log.h>

LOG_MODULE_DECLARE(rdd2, LOG_LEVEL_INF);

#define RC_NODE    DT_ALIAS(rc)
#define IMU_NODE   DT_ALIAS(imu0)
#define MOTOR_NODE DT_ALIAS(motors)

static bool ready_or_log(const struct device *dev, const char *name)
{
	if (!device_is_ready(dev)) {
		LOG_ERR("%s not ready", name);
		return false;
	}

	return true;
}

int rdd2_control_io_init(void)
{
	const struct device *const rc_dev = DEVICE_DT_GET(RC_NODE);
	const struct device *const imu_dev = DEVICE_DT_GET(IMU_NODE);
	const struct device *const motor_dev = DEVICE_DT_GET(MOTOR_NODE);

	rdd2_rc_input_init();

	ready_or_log(rc_dev, "rc");
	ready_or_log(imu_dev, "imu");

	/* GNSS is not a control input and brings itself up in
	 * subsys/gnss_source, which reports through `gnss status`. */

#if defined(CONFIG_RDD2_DSHOT)
	if (!ready_or_log(motor_dev, "dshot")) {
		return -ENODEV;
	}

	if (nxp_flexio_dshot_channel_count(motor_dev) != 4U) {
		LOG_ERR("expected 4 dshot channels");
		return -EINVAL;
	}
#elif defined(CONFIG_PWM)
	if (!device_is_ready(motor_dev)) {
		LOG_ERR("PWM device not found!");
		return -EINVAL;
	}
#else

#pragma message( "Using Virtual Output" )

#endif

	return rdd2_imu_stream_init();
}

void rdd2_control_input_wait(rdd2_vec3f_t *gyro, rdd2_vec3f_t *accel,
			     rdd2_rc_channels_t *rc,
			     rdd2_control_status_t *status, float *dt,
			     uint64_t *imu_interrupt_timestamp_ns)
{
	bool rc_valid;

	status->imu_ok = rdd2_imu_stream_wait_next(gyro, accel, dt, imu_interrupt_timestamp_ns);
	status->rc_link_quality = rdd2_rc_input_link_quality_get(DEVICE_DT_GET(RC_NODE));
	rdd2_rc_input_latest_get(rc, &status->rc_stamp_ms, &rc_valid);
	status->rc_valid = rc_valid;
}
```

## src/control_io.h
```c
#ifndef RDD2_CONTROL_IO_H_
#define RDD2_CONTROL_IO_H_

#include "synapse_messages.h"

int rdd2_control_io_init(void);
void rdd2_control_input_wait(rdd2_vec3f_t *gyro, rdd2_vec3f_t *accel,
			     rdd2_rc_channels_t *rc,
			     rdd2_control_status_t *status, float *dt,
			     uint64_t *imu_interrupt_timestamp_ns);

#endif
```

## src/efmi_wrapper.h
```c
#ifndef RDD2_EFMI_WRAPPER_H_
#define RDD2_EFMI_WRAPPER_H_

#define RDD2_EFMI_CAT_(a, b) a##b
#define RDD2_EFMI_CAT(a, b) RDD2_EFMI_CAT_(a, b)
#define RDD2_EFMI_CAT3_(a, b, c) a##b##c
#define RDD2_EFMI_CAT3(a, b, c) RDD2_EFMI_CAT3_(a, b, c)

#define RDD2_EFMI_STATE_TYPE(model) RDD2_EFMI_CAT(model, State)
#define RDD2_EFMI_STATE(model, name) RDD2_EFMI_STATE_TYPE(model) name
#define RDD2_EFMI_METHOD(model, method) RDD2_EFMI_CAT3(model, _, method)

#define RDD2_EFMI_INIT(model, state_ptr)                                                        \
	do {                                                                                     \
		*(state_ptr) = (RDD2_EFMI_STATE_TYPE(model)){0};                                 \
		RDD2_EFMI_METHOD(model, startup)(state_ptr);                                     \
		RDD2_EFMI_METHOD(model, recalibrate)(state_ptr);                                 \
	} while (0)

#define RDD2_EFMI_RECALIBRATE(model, state_ptr) RDD2_EFMI_METHOD(model, recalibrate)(state_ptr)
#define RDD2_EFMI_STEP(model, state_ptr) RDD2_EFMI_METHOD(model, dostep)(state_ptr)

#endif
```

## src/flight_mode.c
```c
/*
 * SPDX-License-Identifier: Apache-2.0
 */

#include "flight_mode.h"

enum rdd2_flight_mode rdd2_flight_mode_from_rc(const rdd2_rc_channels_t *rc)
{
	const int32_t *channels;

	if (rc == NULL) {
		return RDD2_FLIGHT_MODE_ACRO;
	}

	channels = rdd2_topic_rc_channels_data_const(rc);
	if (channels[RDD2_FLIGHT_MODE_CHANNEL_INDEX] >= RDD2_FLIGHT_MODE_SWITCH_US) {
		return RDD2_FLIGHT_MODE_AUTO_LEVEL;
	}

	return RDD2_FLIGHT_MODE_ACRO;
}

const char *rdd2_flight_mode_name(enum rdd2_flight_mode mode)
{
	switch (mode) {
	case RDD2_FLIGHT_MODE_ACRO:
		return "ACRO";
	case RDD2_FLIGHT_MODE_AUTO_LEVEL:
		return "AUTO_LEVEL";
	default:
		return "UNKNOWN";
	}
}
```

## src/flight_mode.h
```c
#ifndef RDD2_FLIGHT_MODE_H_
#define RDD2_FLIGHT_MODE_H_

#include <stdint.h>

#include "synapse_messages.h"

#define RDD2_FLIGHT_MODE_CHANNEL_INDEX 5
#define RDD2_FLIGHT_MODE_SWITCH_US     1500

enum rdd2_flight_mode {
	RDD2_FLIGHT_MODE_ACRO = 0,
	RDD2_FLIGHT_MODE_AUTO_LEVEL = 1,
};

enum rdd2_flight_mode rdd2_flight_mode_from_rc(const rdd2_rc_channels_t *rc);
const char *rdd2_flight_mode_name(enum rdd2_flight_mode mode);

#endif
```

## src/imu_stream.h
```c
#ifndef RDD2_IMU_STREAM_H_
#define RDD2_IMU_STREAM_H_

#include "synapse_messages.h"

#include <stdbool.h>

int rdd2_imu_stream_init(void);
bool rdd2_imu_stream_wait_next(rdd2_vec3f_t *gyro, rdd2_vec3f_t *accel, float *dt,
			       uint64_t *interrupt_timestamp_ns);
bool rdd2_imu_stream_lockstep_at_target(void);

#endif
```
